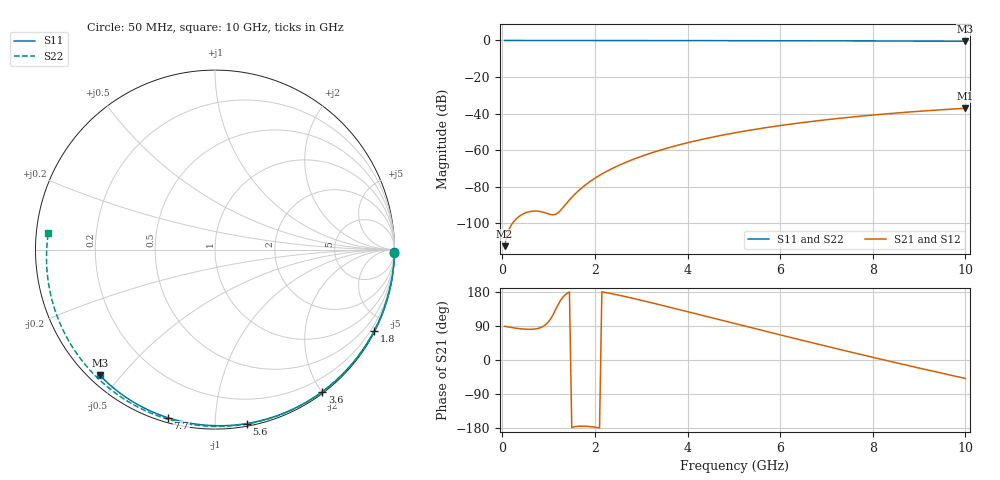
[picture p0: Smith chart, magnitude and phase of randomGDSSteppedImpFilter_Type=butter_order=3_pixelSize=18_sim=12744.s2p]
! freq	dB(S11)	phase(S11)	dB(S12)	phase(S12)
!  dB(S21)	phase(S21)	dB(S22)	phase(S22)
!S-par simulation data
#  GHz  S  DB  R 50
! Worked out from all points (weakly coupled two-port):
!   200 points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, 50 MHz to 10 GHz, reference 50 ohm
!   highest |S21| = -37.13 dB at 10 GHz (marker M1); lowest = -112.6 dB at 50 MHz (marker M2)
!   lowest |S11| = -0.4 dB at 10 GHz (marker M3), VSWR 38.77, Z = 1.54 - j22 ohm
!   |S11| at or under -10 dB: nowhere
!   |S22| runs from -0.6 to 0.0 dB; largest |S21 - S12| = 0
!   S11 on the Smith chart (normalised r, x): 50 MHz: open; 1.8 GHz: 0.04, -4.16; 3.6 GHz: 0.02, -2.01; 5.6 GHz: 0.02, -1.20; 7.7 GHz: 0.02, -0.76; 10 GHz: 0.03, -0.44
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0.05  -0.00 -0.8  -112.59 88.9  -112.59 88.9  -0.00 -1.1
0.45  -0.01 -6.9  -94.93 81.7  -94.93 81.7  -0.01 -9.6
0.85  -0.01 -12.9  -93.78 86.7  -93.78 86.7  -0.02 -18.0
1.3  -0.02 -19.6  -91.81 164.5  -91.81 164.5  -0.03 -27.3
1.75  -0.03 -26.3  -79.97 -174.6  -79.97 -174.6  -0.05 -36.6
1.8  -0.03 -27.0  -78.97 -174.8  -78.97 -174.8  -0.05 -37.6
2.1  -0.04 -31.5  -73.84 -179.1  -73.84 -179.1  -0.06 -43.7
2.3  -0.04 -34.4  -71.03 176.5  -71.03 176.5  -0.06 -47.7
2.5  -0.05 -37.3  -68.57 171.5  -68.57 171.5  -0.07 -51.7
2.9  -0.06 -43.0  -64.37 160.5  -64.37 160.5  -0.08 -59.5
3.4  -0.07 -50.1  -60.11 145.8  -60.11 145.8  -0.09 -69.1
3.6  -0.07 -52.9  -58.64 139.7  -58.64 139.7  -0.10 -72.9
4.3  -0.09 -62.5  -54.21 118.3  -54.21 118.3  -0.12 -85.9
5.05  -0.11 -72.5  -50.42 95.2  -50.42 95.2  -0.15 -99.4
5.6  -0.13 -79.7  -48.09 78.4  -48.09 78.4  -0.18 -109.1
6.15  -0.15 -86.7  -46.06 61.7  -46.06 61.7  -0.21 -118.5
6.7  -0.18 -93.5  -44.27 45.3  -44.27 45.3  -0.25 -127.9
7.2  -0.21 -99.6  -42.82 30.5  -42.82 30.5  -0.29 -136.4
7.7  -0.24 -105.6  -41.53 15.8  -41.53 15.8  -0.33 -144.9
8.35  -0.29 -113.3  -40.04 -2.9  -40.04 -2.9  -0.40 -156.0
9.2  -0.36 -123.2  -38.40 -26.8  -38.40 -26.8  -0.49 -171.0
10  -0.45 -132.5  -37.13 -48.6  -37.13 -48.6  -0.60 174.4
